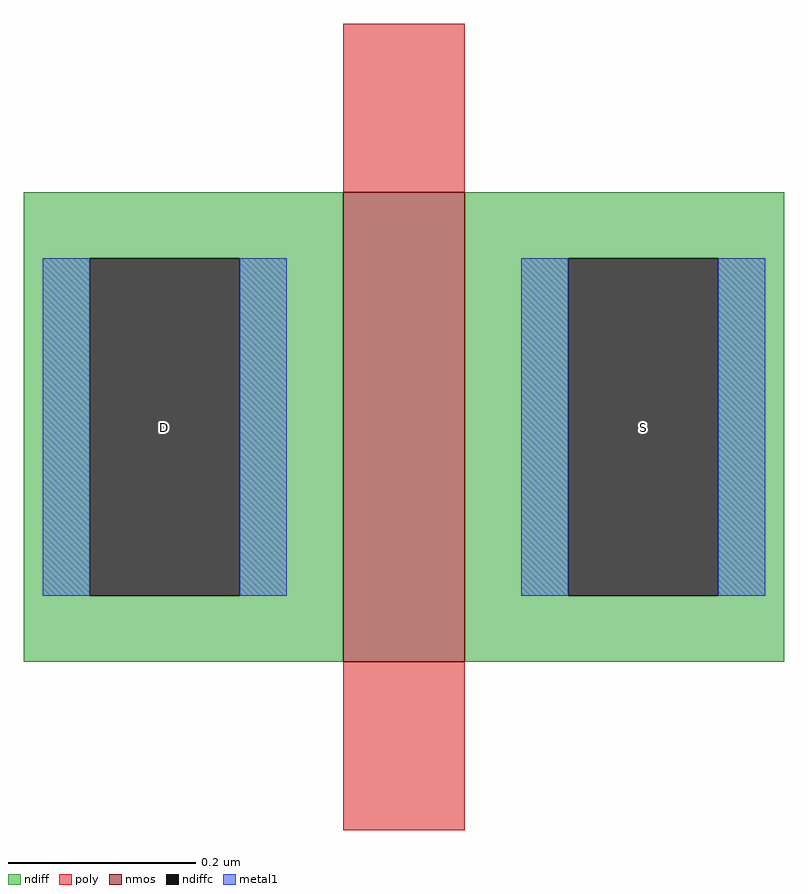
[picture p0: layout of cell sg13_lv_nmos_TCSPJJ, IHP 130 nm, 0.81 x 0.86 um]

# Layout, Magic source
magic
tech ihp-sg13g2
magscale 1 2
<< nmos >>
rect -13 -50 13 50
<< ndiff >>
rect -81 36 -13 50
rect -81 -36 -67 36
rect -35 -36 -13 36
rect -81 -50 -13 -36
rect 13 36 81 50
rect 13 -36 35 36
rect 67 -36 81 36
rect 13 -50 81 -36
<< ndiffc >>
rect -67 -36 -35 36
rect 35 -36 67 36
<< poly >>
rect -13 50 13 86
rect -13 -86 13 -50
<< metal1 >>
rect -77 -36 -67 36
rect -35 -36 -25 36
rect 25 -36 35 36
rect 67 -36 77 36
<< labels >>
rlabel ndiffc -51 0 -51 0 0 D
port 1 nsew
rlabel ndiffc 51 0 51 0 0 S
port 2 nsew
<< properties >>
string gencell sg13_lv_nmos
string library sg13g2
string parameters w 0.5 l 0.13 m 1 nf 1 diffcov 100 polycov 100 guard 0 glc 1 grc 1 gtc 1 gbc 1 tbcov 100 rlcov 100 topc 0 botc 0 poverlap 0 doverlap 1 lmin 0.13 wmin 0.15 class mosfet compatible {sg13_lv_nmos sg13_hv_nmos} full_metal 1 conn_gates 0 gate_ring 0 doports 1 viasrc 0 viadrn 0 viagate 0 ccols 1 viagb 0 viagr 0 viagl 0 viagt 0
<< end >>
